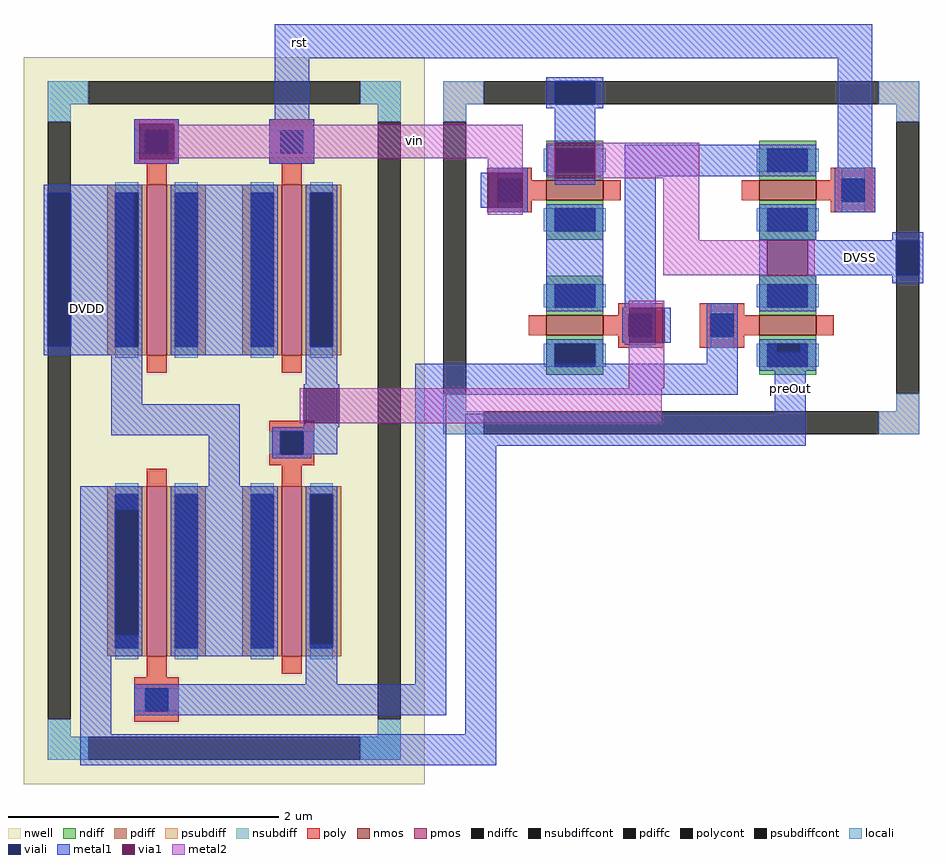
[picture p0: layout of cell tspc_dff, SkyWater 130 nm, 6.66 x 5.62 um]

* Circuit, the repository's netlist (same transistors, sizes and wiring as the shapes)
* NGSPICE file created from tspc_dff.ext - technology: sky130A

.subckt sky130_fd_pr__nfet_01v8_7XSGLL a_n33_33# a_15_n73# a_n73_n73# VSUBS
X0 a_15_n73# a_n33_33# a_n73_n73# VSUBS sky130_fd_pr__nfet_01v8 ad=0.1218 pd=1.42 as=0.1218 ps=1.42 w=0.42 l=0.15
.ends

.subckt ncell_pfd DVSS drain2 preOut rst vin drain1
Xsky130_fd_pr__nfet_01v8_7XSGLL_0 rst DVSS drain1 DVSS sky130_fd_pr__nfet_01v8_7XSGLL
Xsky130_fd_pr__nfet_01v8_7XSGLL_1 vin m1_102_34# DVSS DVSS sky130_fd_pr__nfet_01v8_7XSGLL
Xsky130_fd_pr__nfet_01v8_7XSGLL_2 drain1 drain2 m1_102_34# DVSS sky130_fd_pr__nfet_01v8_7XSGLL
Xsky130_fd_pr__nfet_01v8_7XSGLL_3 drain2 preOut DVSS DVSS sky130_fd_pr__nfet_01v8_7XSGLL
.ends

.subckt sky130_fd_pr__pfet_01v8_SC63VW a_n73_n162# a_n33_121# w_n109_n224# a_15_n162#
X0 a_15_n162# a_n33_121# a_n73_n162# w_n109_n224# sky130_fd_pr__pfet_01v8 ad=0.3654 pd=3.1 as=0.3654 ps=3.1 w=1.26 l=0.15
.ends

.subckt pcell_pfd DVDD VIN RST drain1 drain2 preOut
Xsky130_fd_pr__pfet_01v8_SC63VW_0 DVDD VIN DVDD m1_700_294# sky130_fd_pr__pfet_01v8_SC63VW
Xsky130_fd_pr__pfet_01v8_SC63VW_1 m1_700_294# RST DVDD drain1 sky130_fd_pr__pfet_01v8_SC63VW
Xsky130_fd_pr__pfet_01v8_SC63VW_3 drain2 drain1 DVDD DVDD sky130_fd_pr__pfet_01v8_SC63VW
Xsky130_fd_pr__pfet_01v8_SC63VW_4 DVDD drain2 DVDD preOut sky130_fd_pr__pfet_01v8_SC63VW
.ends

.subckt tspc_dff DVDD DVSS preOut rst vin
Xncell_pfd_0 DVSS pcell_pfd_0/drain2 preOut rst vin pcell_pfd_0/drain1 ncell_pfd
Xpcell_pfd_0 DVDD vin rst pcell_pfd_0/drain1 pcell_pfd_0/drain2 preOut pcell_pfd
.ends

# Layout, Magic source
magic
tech sky130A
magscale 1 2
<< nwell >>
rect -623 605 -576 659
rect -613 82 -567 160
<< metal1 >>
rect -325 1014 559 1065
rect -532 865 -526 917
rect -474 865 -468 917
rect -325 866 -274 1014
rect -20 793 -10 845
rect 42 793 49 845
rect 508 800 559 1014
rect 521 700 563 734
rect -623 605 -576 659
rect 189 593 199 645
rect 251 593 261 645
rect 453 580 476 598
rect 423 579 476 580
rect -282 526 -230 532
rect -282 468 -230 474
rect -117 516 134 562
rect 415 552 476 579
rect -613 160 -567 381
rect -613 129 -521 160
rect -613 14 -567 129
rect -117 88 -71 516
rect 415 488 461 552
rect -342 42 -71 88
rect -43 441 461 488
rect -43 14 3 441
rect -613 -32 3 14
<< via1 >>
rect -526 865 -474 917
rect -10 793 42 845
rect 199 593 251 645
rect -282 474 -230 526
<< metal2 >>
rect -526 917 -474 923
rect -474 866 42 916
rect -526 859 -474 865
rect -10 845 42 866
rect -10 783 42 793
rect 199 645 251 655
rect 199 526 251 593
rect -288 474 -282 526
rect -230 474 248 526
use ncell_pfd  ncell_pfd_0
transform 0 -1 195 -1 0 900
box -86 -440 442 271
use pcell_pfd  pcell_pfd_0
transform -1 0 379 0 1 281
box 482 -341 1076 735
<< labels >>
flabel metal1 -602 644 -602 644 0 FreeSans 160 90 0 0 DVDD
port 0 nsew
flabel metal1 542 720 542 720 0 FreeSans 160 0 0 0 DVSS
port 1 nsew
flabel metal1 438 526 438 526 0 FreeSans 160 90 0 0 preOut
port 2 nsew
flabel metal1 -288 1038 -288 1038 0 FreeSans 160 0 0 0 rst
port 3 nsew
flabel metal2 -118 892 -118 892 0 FreeSans 160 0 0 0 vin
port 4 nsew
<< end >>

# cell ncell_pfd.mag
magic
tech sky130A
magscale 1 2
<< psubdiff >>
rect -80 237 -20 271
rect 382 237 442 271
rect -80 211 -46 237
rect -80 -400 -46 -374
rect 408 211 442 237
rect 408 -400 442 -374
rect -80 -434 -20 -400
rect 382 -434 442 -400
<< psubdiffcont >>
rect -20 237 382 271
rect -80 -374 -46 211
rect 408 -374 442 211
rect -20 -434 382 -400
<< locali >>
rect -80 237 -20 271
rect 382 237 442 271
rect -80 211 -46 237
rect -80 -400 -46 -374
rect 408 211 442 237
rect 408 -400 442 -374
rect -80 -434 -20 -400
rect 382 -434 442 -400
<< viali >>
rect -80 46 -46 106
rect 155 -434 207 -400
<< metal1 >>
rect 48 146 114 206
rect -86 106 -40 118
rect -86 46 -80 106
rect -46 46 11 106
rect 63 46 73 106
rect -86 34 -40 46
rect 102 34 260 118
rect 14 -44 310 2
rect 14 -270 60 -44
rect 338 -119 384 118
rect 248 -165 384 -119
rect 102 -209 260 -197
rect 102 -269 155 -209
rect 207 -269 260 -209
rect 302 -223 348 -197
rect 102 -281 260 -269
rect 48 -369 114 -309
rect 155 -394 207 -281
rect 143 -400 219 -394
rect 143 -434 155 -400
rect 207 -434 219 -400
rect 143 -440 219 -434
<< via1 >>
rect 11 46 63 106
rect 155 -269 207 -209
<< metal2 >>
rect 11 106 63 116
rect 11 -55 63 46
rect 11 -108 207 -55
rect 155 -209 207 -108
rect 155 -279 207 -269
use sky130_fd_pr__nfet_01v8_7XSGLL  sky130_fd_pr__nfet_01v8_7XSGLL_0
transform 1 0 81 0 -1 -270
box -73 -99 73 99
use sky130_fd_pr__nfet_01v8_7XSGLL  sky130_fd_pr__nfet_01v8_7XSGLL_1
transform 1 0 81 0 1 107
box -73 -99 73 99
use sky130_fd_pr__nfet_01v8_7XSGLL  sky130_fd_pr__nfet_01v8_7XSGLL_2
transform 1 0 281 0 -1 45
box -73 -99 73 99
use sky130_fd_pr__nfet_01v8_7XSGLL  sky130_fd_pr__nfet_01v8_7XSGLL_3
transform 1 0 281 0 1 -208
box -73 -99 73 99
<< labels >>
flabel metal1 -20 84 -20 84 0 FreeSans 160 0 0 0 DVSS
port 0 nsew
flabel metal1 356 -56 356 -56 0 FreeSans 160 0 0 0 drain2
port 2 nsew
flabel metal1 326 -204 326 -204 0 FreeSans 160 0 0 0 preOut
port 3 nsew
flabel metal1 80 -366 80 -366 0 FreeSans 160 0 0 0 rst
port 4 nsew
flabel metal1 76 200 76 200 0 FreeSans 160 0 0 0 vin
port 5 nsew
flabel metal1 170 -27 170 -26 0 FreeSans 160 0 0 0 drain1
port 6 nsew
<< end >>

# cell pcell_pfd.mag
magic
tech sky130A
magscale 1 2
<< nwell >>
rect 482 -341 1076 735
<< nsubdiff >>
rect 518 665 578 699
rect 980 665 1040 699
rect 518 639 552 665
rect 518 -271 552 -245
rect 1006 639 1040 665
rect 1006 -271 1040 -245
rect 518 -305 578 -271
rect 980 -305 1040 -271
<< nsubdiffcont >>
rect 578 665 980 699
rect 518 -245 552 639
rect 1006 -245 1040 639
rect 578 -305 980 -271
<< locali >>
rect 518 665 578 699
rect 980 665 1040 699
rect 518 639 552 665
rect 518 -271 552 -245
rect 1006 639 1040 665
rect 1006 -271 1040 -245
rect 518 -305 578 -271
rect 980 -305 1040 -271
<< viali >>
rect 1006 306 1040 534
<< metal1 >>
rect 646 577 712 643
rect 846 577 912 643
rect 612 147 658 306
rect 700 294 858 546
rect 912 534 1046 546
rect 912 306 1006 534
rect 1040 306 1046 534
rect 912 304 1046 306
rect 900 294 1046 304
rect 900 221 946 294
rect 756 175 946 221
rect 756 100 802 175
rect 612 -193 658 -134
rect 700 -152 858 100
rect 900 65 947 100
rect 612 -239 912 -193
use sky130_fd_pr__pfet_01v8_SC63VW  sky130_fd_pr__pfet_01v8_SC63VW_0
transform -1 0 879 0 1 456
box -109 -224 109 190
use sky130_fd_pr__pfet_01v8_SC63VW  sky130_fd_pr__pfet_01v8_SC63VW_1
transform -1 0 679 0 1 456
box -109 -224 109 190
use sky130_fd_pr__pfet_01v8_SC63VW  sky130_fd_pr__pfet_01v8_SC63VW_3
transform 1 0 679 0 1 10
box -109 -224 109 190
use sky130_fd_pr__pfet_01v8_SC63VW  sky130_fd_pr__pfet_01v8_SC63VW_4
transform 1 0 879 0 -1 -62
box -109 -224 109 190
<< labels >>
flabel metal1 984 478 984 478 0 FreeSans 160 90 0 0 DVDD
port 0 nsew
flabel metal1 880 638 880 638 0 FreeSans 160 0 0 0 VIN
port 1 nsew
flabel metal1 678 636 678 636 0 FreeSans 160 0 0 0 RST
port 2 nsew
flabel metal1 640 222 640 222 0 FreeSans 160 90 0 0 drain1
port 3 nsew
flabel metal1 704 -216 704 -216 0 FreeSans 160 0 0 0 drain2
port 4 nsew
flabel metal1 922 92 922 92 0 FreeSans 160 0 0 0 preOut
port 5 nsew
<< end >>

# cell sky130_fd_pr__pfet_01v8_SC63VW: kit device sky130_fd_pr__pfet_01v8, w 1.26 l 0.15 m 1 nf 1 diffcov 100 polycov 100 guard 0 glc 1 grc 1 gtc 1 gbc 1 tbcov 100 rlcov 100 topc 1 botc 0 poverlap 0 doverlap 0 lmin 0.15 wmin 0.42 compatible {sky130_fd_pr__pfet_01v8 sky130_fd_pr__pfet_01v8_lvt sky130_fd_pr__pfet_01v8_hvt sky130_fd_pr__pfet_g5v0d10v5} full_metal 1 viasrc 100 viadrn 100 viagate 100 viagb 0 viagr 0 viagl 0 viagt 0

# cell sky130_fd_pr__nfet_01v8_7XSGLL: kit device sky130_fd_pr__nfet_01v8, w 0.420 l 0.150 m 1 nf 1 diffcov 100 polycov 100 guard 0 glc 1 grc 1 gtc 1 gbc 1 tbcov 100 rlcov 100 topc 1 botc 0 poverlap 0 doverlap 1 lmin 0.15 wmin 0.42 compatible {sky130_fd_pr__nfet_01v8 sky130_fd_pr__nfet_01v8_lvt sky130_fd_bs_flash__special_sonosfet_star sky130_fd_pr__nfet_g5v0d10v5 sky130_fd_pr__nfet_05v0_nvt sky130_fd_pr__nfet_03v3_nvt} full_metal 1 viasrc 100 viadrn 100 viagate 100 viagb 0 viagr 0 viagl 0 viagt 0
